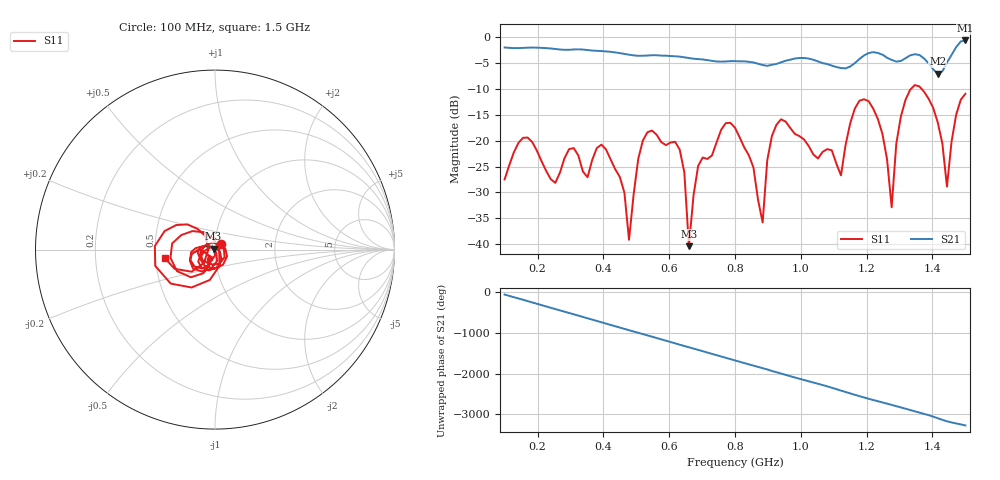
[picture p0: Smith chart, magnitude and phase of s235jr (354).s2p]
! NanoVNA-App
! Date: 2025-09-25 15:06:55
! Start: 100MHz Stop: 1,5GHz Points: 101
! S-Parameter data: F S11 S21 S12 S22
# Hz S RI R 50
!  Frequency  S11_Real  S11_Imag  S21_Real  S21_Imag  S12_Real  S12_Imag  S22_Real  S22_Imag
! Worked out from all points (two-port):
!   101 points, 100 MHz to 1.5 GHz, reference 50 ohm
!   highest |S21| = -0.61 dB at 1.5 GHz (marker M1); lowest = -7.0 dB at 1.416 GHz (marker M2)
!   |S21| within 3 dB of the highest: start of sweep to 601.4 MHz; 1.19 GHz to 1.254 GHz (64.08 MHz wide, 5.24 % of centre) (the widest 2 of 4)
!   lowest |S11| = -40.4 dB at 660 MHz (marker M3), VSWR 1.02, Z = 49.2 + j0.52 ohm
!   |S11| at or under -10 dB: start of sweep to 1.334 GHz; 1.367 GHz to end of sweep
!   S12 and S22 are empty: the file has one direction only
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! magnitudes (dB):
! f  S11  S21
! 100 MHz  -27.5  -2.0
! 156 MHz  -19.4  -2.0
! 338 MHz  -26.0  -2.4
! 408 MHz  -21.7  -2.7
! 478 MHz  -39.1  -3.4
! 520 MHz  -20.0  -3.6
! 576 MHz  -20.3  -3.5
! 632 MHz  -21.7  -3.7
! 660 MHz  -40.4  -4.0
! 688 MHz  -24.9  -4.2
! 800 MHz  -17.5  -4.6
! 884 MHz  -35.8  -5.4
! 926 MHz  -16.9  -5.1
! 1.038 GHz  -22.6  -4.3
! 1.122 GHz  -26.7  -5.9
! 1.206 GHz  -12.3  -3.0
! 1.276 GHz  -32.9  -4.4
! 1.29 GHz  -20.6  -4.7
! 1.332 GHz  -10.1  -3.5
! 1.416 GHz  -16.5  -7.0
! 1.444 GHz  -28.9  -4.9
! 1.5 GHz  -10.9  -0.6
